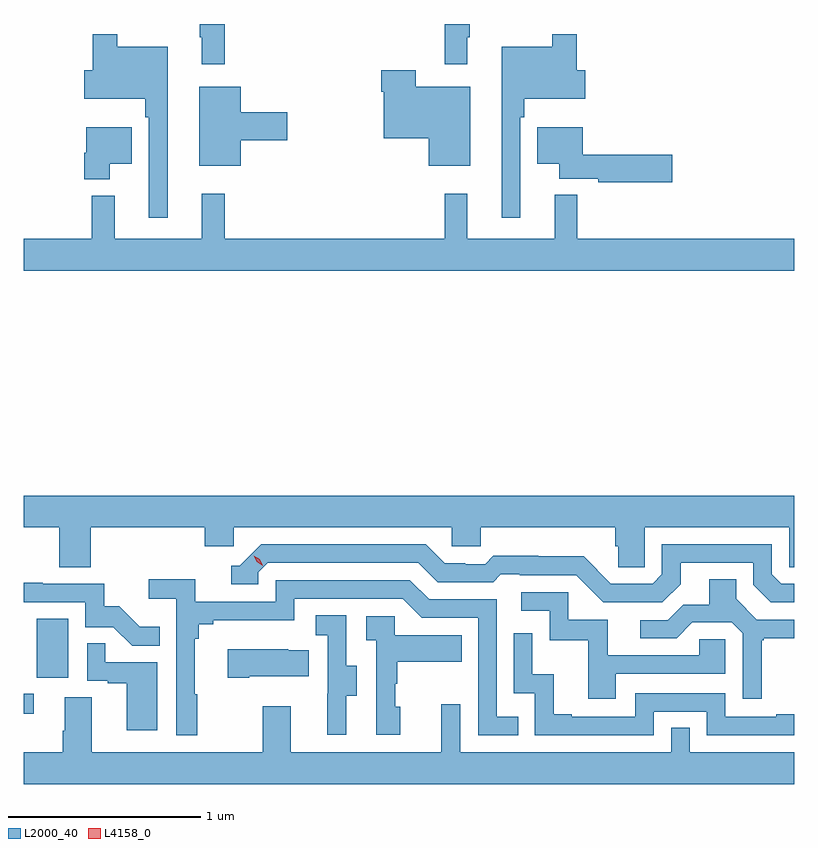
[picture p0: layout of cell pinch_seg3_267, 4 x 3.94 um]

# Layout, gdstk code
import gdstk
lib = gdstk.Library(unit=1e-6, precision=1e-09)
def R(c, l, rs):  # rectangles x0, y0, x1, y1
    for r in rs: c.add(gdstk.rectangle(r[:2], r[2:], *l))
def P(c, l, *ps):  # polygons
    for p in ps: c.add(gdstk.Polygon(p, *l))
L2000_40 = (2000, 40)
L4158_0 = (4158, 0)

pinch_seg3_267 = lib.new_cell('pinch_seg3_267')
R(pinch_seg3_267, L2000_40, [(911.172,713.268,911.224,713.373), (911.24,713.454,911.404,713.761)])
P(pinch_seg3_267, L2000_40, [(912.215,716.847),(912.087,716.847),(912.087,716.777),(912.098,716.777),(912.098,716.637),(912.215,716.637)],
  [(913.474,716.777),(913.486,716.777),(913.486,716.847),(913.357,716.847),(913.357,716.637),(913.474,716.637)],
  [(913.749,716.363),(913.769,716.363),(913.769,716.459),(914.086,716.459),(914.086,716.607),(914.042,716.607),(914.042,716.794),(913.914,716.794),(913.914,716.728),(913.652,716.728),(913.652,715.842),(913.749,715.842)],
  [(911.92,716.728),(911.659,716.728),(911.659,716.794),(911.53,716.794),(911.53,716.607),(911.486,716.607),(911.486,716.459),(911.803,716.459),(911.803,716.363),(911.823,716.363),(911.823,715.842),(911.92,715.842)],
  [(913.489,716.521),(913.206,716.521),(913.206,716.608),(913.028,716.608),(913.028,716.495),(913.04,716.495),(913.04,716.255),(913.274,716.255),(913.274,716.111),(913.489,716.111)],
  [(912.298,716.243),(912.541,716.243),(912.541,716.39),(912.298,716.39),(912.298,716.521),(912.083,716.521),(912.083,716.111),(912.298,716.111)],
  [(911.62,716.123),(911.734,716.123),(911.734,716.311),(911.498,716.311),(911.498,716.178),(911.486,716.178),(911.486,716.042),(911.62,716.042)],
  [(914.539,716.168),(914.074,716.168),(914.074,716.311),(913.838,716.311),(913.838,716.123),(913.952,716.123),(913.952,716.045),(914.154,716.045),(914.154,716.026),(914.539,716.026)],
  [(915.172,715.732),(914.045,715.732),(914.045,715.96),(913.928,715.96),(913.928,715.732),(913.475,715.732),(913.475,715.966),(913.357,715.966),(913.357,715.732),(912.215,715.732),(912.215,715.966),(912.098,715.966),(912.098,715.732),(911.645,715.732),(911.645,715.957),(911.527,715.957),(911.527,715.732),(911.172,715.732),(911.172,715.568),(915.172,715.568)],
  [(911.522,714.236),(912.113,714.236),(912.113,714.138),(912.264,714.138),(912.264,714.236),(913.395,714.236),(913.395,714.138),(913.545,714.138),(913.545,714.236),(914.243,714.236),(914.243,714.138),(914.257,714.138),(914.257,714.028),(914.394,714.028),(914.394,714.236),(915.144,714.236),(915.144,714.028),(915.172,714.028),(915.172,714.4),(911.172,714.4),(911.172,714.236),(911.357,714.236),(911.357,714.028),(911.522,714.028)],
  [(914.581,713.941),(914.581,714.051),(914.958,714.051),(914.958,713.937),(915.048,713.847),(915.172,713.847),(915.172,713.943),(915.102,713.943),(915.054,713.991),(915.054,714.147),(914.484,714.147),(914.484,713.991),(914.436,713.943),(914.22,713.943),(914.078,714.085),(913.842,714.085),(913.842,714.088),(913.609,714.088),(913.567,714.045),(913.464,714.045),(913.464,714.048),(913.357,714.048),(913.258,714.147),(912.405,714.147),(912.294,714.036),(912.251,714.036),(912.251,713.94),(912.39,713.94),(912.39,714.003),(912.438,714.051),(913.221,714.051),(913.32,713.952),(913.609,713.952),(913.648,713.991),(913.747,713.991),(913.747,713.988),(914.04,713.988),(914.181,713.847),(914.487,713.847)],
  [(912.073,713.369),(912.061,713.369),(912.061,713.657),(912.08,713.657),(912.08,713.734),(912.157,713.734),(912.157,713.753),(912.576,713.753),(912.576,713.865),(913.14,713.865),(913.239,713.766),(913.53,713.766),(913.53,713.157),(913.739,713.157),(913.739,713.253),(913.626,713.253),(913.626,713.862),(913.276,713.862),(913.177,713.961),(912.48,713.961),(912.48,713.85),(912.062,713.85),(912.062,713.966),(911.823,713.966),(911.823,713.864),(911.964,713.864),(911.964,713.157),(912.073,713.157)],
  [(915.001,713.649),(915.013,713.649),(915.013,713.66),(915.172,713.66),(915.172,713.757),(914.976,713.757),(914.869,713.864),(914.869,713.966),(914.729,713.966),(914.729,713.834),(914.594,713.834),(914.514,713.754),(914.373,713.754),(914.373,713.661),(914.56,713.661),(914.641,713.742),(914.847,713.742),(914.904,713.685),(914.904,713.346),(915.001,713.346)],
  [(911.879,713.719),(911.775,713.719),(911.668,713.826),(911.592,713.826),(911.592,713.943),(911.273,713.943),(911.273,713.948),(911.172,713.948),(911.172,713.847),(911.493,713.847),(911.493,713.718),(911.637,713.718),(911.735,713.62),(911.879,713.62)],
  [(914.245,713.475),(914.814,713.475),(914.814,713.655),(914.677,713.655),(914.677,713.571),(914.203,713.571),(914.203,713.757),(913.998,713.757),(913.998,713.898),(913.755,713.898),(913.755,713.802),(913.902,713.802),(913.902,713.649),(914.101,713.649),(914.101,713.346),(914.245,713.346)],
  [(912.847,713.362),(912.901,713.362),(912.901,713.517),(912.846,713.517),(912.846,713.78),(912.687,713.78),(912.687,713.677),(912.75,713.677),(912.75,713.373),(912.749,713.373),(912.749,713.16),(912.847,713.16)],
  [(913.126,713.304),(913.101,713.304),(913.101,713.423),(913.111,713.423),(913.111,713.537),(913.445,713.537),(913.445,713.677),(913.098,713.677),(913.098,713.775),(912.951,713.775),(912.951,713.651),(913.002,713.651),(913.002,713.16),(913.126,713.16)],
  [(914.442,713.28),(914.718,713.28),(914.718,713.157),(915.172,713.157),(915.172,713.266),(915.077,713.266),(915.077,713.253),(914.814,713.253),(914.814,713.376),(914.346,713.376),(914.346,713.253),(914.017,713.253),(914.017,713.266),(913.922,713.266),(913.922,713.474),(913.812,713.474),(913.812,713.686),(913.716,713.686),(913.716,713.376),(913.824,713.376),(913.824,713.157),(914.442,713.157)],
  [(911.866,713.535),(911.597,713.535),(911.597,713.633),(911.502,713.633),(911.502,713.439),(911.609,713.439),(911.609,713.427),(911.708,713.427),(911.708,713.184),(911.866,713.184)],
  [(912.343,713.462),(912.653,713.462),(912.653,713.599),(912.545,713.599),(912.545,713.602),(912.231,713.602),(912.231,713.455),(912.343,713.455)],
  [(915.172,713.068),(914.628,713.068),(914.628,713.195),(914.532,713.195),(914.532,713.068),(913.437,713.068),(913.437,713.317),(913.34,713.317),(913.34,713.068),(912.559,713.068),(912.559,713.308),(912.412,713.308),(912.412,713.068),(911.527,713.068),(911.527,713.354),(911.387,713.354),(911.387,713.18),(911.375,713.18),(911.375,713.068),(911.172,713.068),(911.172,712.904),(915.172,712.904)])
P(pinch_seg3_267, L4158_0, [(912.413,714.036),(912.382,714.056),(912.366,714.088),(912.366,714.089),(912.366,714.089),(912.397,714.069),(912.413,714.036),(912.413,714.036)])

lib.write_gds('pinch_seg3_267.gds')
